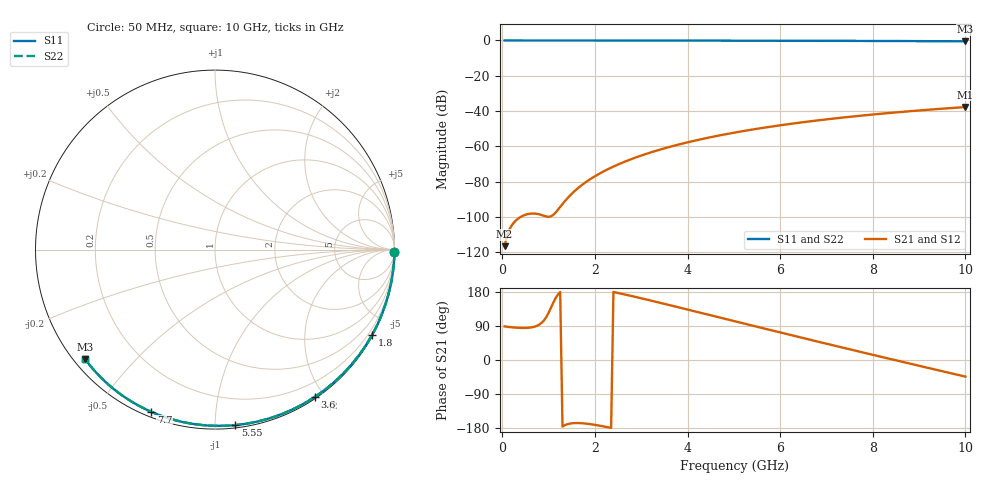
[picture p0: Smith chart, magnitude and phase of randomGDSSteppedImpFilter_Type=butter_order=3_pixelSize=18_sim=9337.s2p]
! freq	dB(S11)	phase(S11)	dB(S12)	phase(S12)
!  dB(S21)	phase(S21)	dB(S22)	phase(S22)
!S-par simulation data
#  GHz  S  DB  R 50
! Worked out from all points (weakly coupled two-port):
!   200 points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, 50 MHz to 10 GHz, reference 50 ohm
!   highest |S21| = -37.77 dB at 10 GHz (marker M1); lowest = -116.7 dB at 50 MHz (marker M2)
!   lowest |S11| = -0.5 dB at 10 GHz (marker M3), VSWR 36.61, Z = 1.55 - j18.3 ohm
!   |S11| at or under -10 dB: nowhere
!   |S22| runs from -0.5 to 0.0 dB; largest |S21 - S12| = 0
!   S11 on the Smith chart (normalised r, x): 50 MHz: open; 1.8 GHz: 0.03, -3.92; 3.6 GHz: 0.02, -1.88; 5.55 GHz: 0.02, -1.12; 7.7 GHz: 0.02, -0.68; 10 GHz: 0.03, -0.37
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0.05  -0.00 -0.8  -116.65 88.8  -116.65 88.8  -0.00 -0.8
0.45  -0.01 -7.3  -99.34 84.6  -99.34 84.6  -0.01 -7.3
0.9  -0.02 -14.5  -99.42 104.6  -99.42 104.6  -0.02 -14.5
1.75  -0.04 -27.9  -81.35 -167.2  -81.35 -167.2  -0.04 -27.9
1.8  -0.04 -28.6  -80.40 -167.8  -80.40 -167.8  -0.04 -28.6
1.85  -0.04 -29.4  -79.50 -168.5  -79.50 -168.5  -0.04 -29.4
2.05  -0.04 -32.5  -76.22 -172.2  -76.22 -172.2  -0.04 -32.5
2.2  -0.04 -34.8  -74.08 -175.5  -74.08 -175.5  -0.04 -34.8
2.55  -0.05 -40.2  -69.76 175.5  -69.76 175.5  -0.05 -40.2
2.95  -0.06 -46.3  -65.72 164.3  -65.72 164.3  -0.06 -46.3
3.4  -0.07 -53.0  -61.93 151.2  -61.93 151.2  -0.07 -53.0
3.6  -0.08 -55.9  -60.45 145.2  -60.45 145.2  -0.08 -55.9
3.9  -0.08 -60.3  -58.40 136.2  -58.40 136.2  -0.08 -60.3
4.3  -0.09 -66.1  -55.97 124.1  -55.97 124.1  -0.09 -66.1
5.05  -0.12 -76.6  -52.08 101.4  -52.08 101.4  -0.12 -76.6
5.55  -0.14 -83.4  -49.88 86.3  -49.88 86.3  -0.14 -83.4
6.1  -0.16 -90.8  -47.74 69.7  -47.74 69.7  -0.16 -90.8
6.7  -0.19 -98.7  -45.68 51.8  -45.68 51.8  -0.19 -98.7
7.7  -0.26 -111.4  -42.76 22.4  -42.76 22.4  -0.26 -111.4
8.35  -0.31 -119.5  -41.14 3.5  -41.14 3.5  -0.31 -119.5
9.2  -0.39 -130.0  -39.28 -21.0  -39.28 -21.0  -0.39 -130.0
10  -0.47 -139.8  -37.77 -43.9  -37.77 -43.9  -0.47 -139.8
